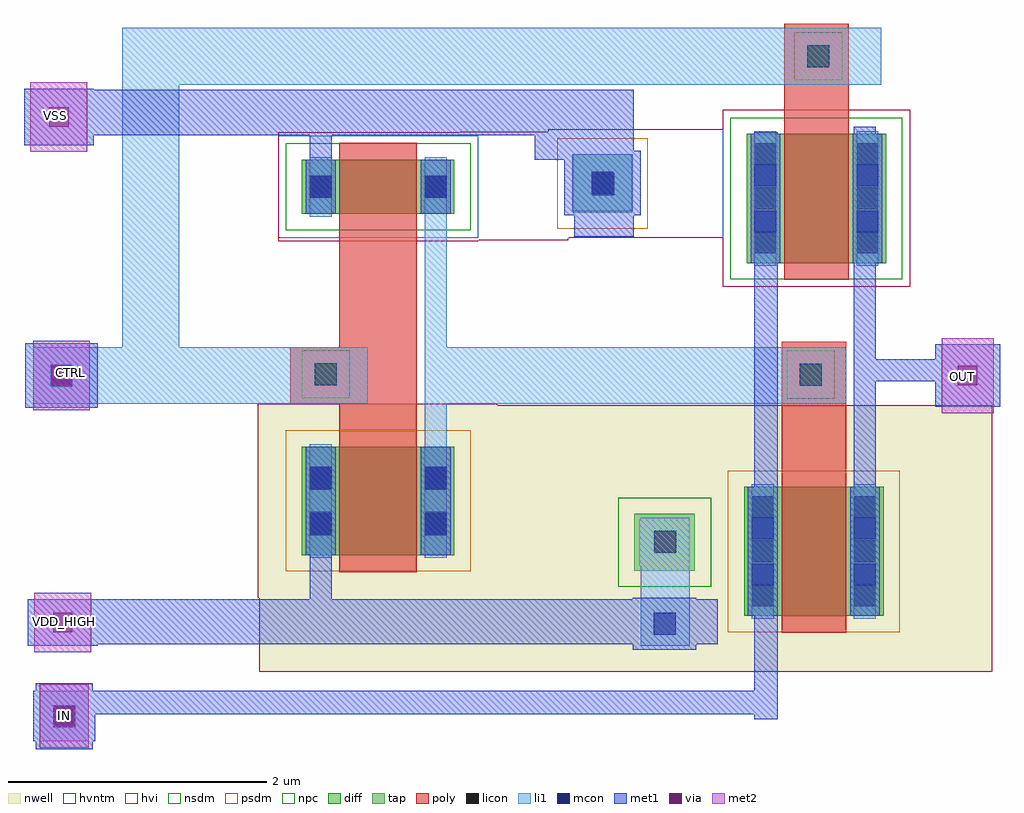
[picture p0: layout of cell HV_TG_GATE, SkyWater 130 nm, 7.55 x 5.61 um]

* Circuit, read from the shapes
.subckt HV_TG_GATE CTRL IN OUT VDD_HIGH VSS
XM1 inverter_D1_g5v10_1/OUT CTRL VSS VSS sky130_fd_pr__nfet_g5v0d10v5 w=0.42 l=0.6
XM2 OUT CTRL IN VSS sky130_fd_pr__nfet_g5v0d10v5 w=1 l=0.5
XM3 inverter_D1_g5v10_1/OUT CTRL VDD_HIGH VDD_HIGH sky130_fd_pr__pfet_g5v0d10v5 w=0.84 l=0.6
XM4 OUT inverter_D1_g5v10_1/OUT IN VDD_HIGH sky130_fd_pr__pfet_g5v0d10v5 w=1 l=0.5
.ends

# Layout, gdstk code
import gdstk
lib = gdstk.Library(unit=1e-6, precision=1e-09)
def R(c, l, rs):  # rectangles x0, y0, x1, y1
    for r in rs: c.add(gdstk.rectangle(r[:2], r[2:], *l))
def A(c, l, x, y, w, h, nx, ny, dx, dy):  # array of equal rectangles
    R(c, l, [(x+i*dx, y+j*dy, x+i*dx+w, y+j*dy+h) for i in range(nx) for j in range(ny)])
nwell = (64, 20)
diff = (65, 20)
tap = (65, 44)
poly = (66, 20)
licon = (66, 44)
li1 = (67, 20)
mcon = (67, 44)
met1 = (68, 20)
via = (68, 44)
met2 = (69, 20)
hvi = (75, 20)
nsdm = (93, 44)
psdm = (94, 20)
npc = (95, 20)
hvntm = (125, 20)

sky130_fd_pr__pfet_g5v0d = lib.new_cell('sky130_fd_pr__pfet_g5v0d10v5_HKHHPX')
R(sky130_fd_pr__pfet_g5v0d, nwell, [(-0.72,-0.81,0.72,0.81)])
R(sky130_fd_pr__pfet_g5v0d, diff, [(-0.54,-0.5,0.54,0.5)])
R(sky130_fd_pr__pfet_g5v0d, poly, [(-0.25,-0.63,0.25,0.63)])
A(sky130_fd_pr__pfet_g5v0d, licon, -0.48, -0.425, 0.17, 0.17, 1, 3, 0, 0.34)
A(sky130_fd_pr__pfet_g5v0d, licon, 0.31, -0.425, 0.17, 0.17, 1, 3, 0, 0.34)
R(sky130_fd_pr__pfet_g5v0d, li1, [(-0.48,-0.52,-0.31,0.52), (0.31,-0.52,0.48,0.52)])
R(sky130_fd_pr__pfet_g5v0d, mcon, [(-0.48,-0.265,-0.31,-0.095), (0.31,-0.265,0.48,-0.095), (-0.48,0.095,-0.31,0.265), (0.31,0.095,0.48,0.265)])
R(sky130_fd_pr__pfet_g5v0d, met1, [(-0.51,-0.5,-0.28,0.5), (0.28,-0.5,0.51,0.5)])
R(sky130_fd_pr__pfet_g5v0d, hvi, [(-0.72,-0.81,0.72,-0.685), (-0.725,-0.685,0.725,0.685), (-0.72,0.685,0.72,0.81)])
R(sky130_fd_pr__pfet_g5v0d, psdm, [(-0.665,-0.625,0.665,0.625)])

c_sky130_fd_pr__pfet_g5v0d = lib.new_cell('sky130_fd_pr__pfet_g5v0d10v5_54DD5S')
R(c_sky130_fd_pr__pfet_g5v0d, nwell, [(-0.77,-0.73,0.77,0.73)])
R(c_sky130_fd_pr__pfet_g5v0d, diff, [(-0.59,-0.42,0.59,0.42)])
R(c_sky130_fd_pr__pfet_g5v0d, poly, [(-0.3,-0.55,0.3,0.55)])
R(c_sky130_fd_pr__pfet_g5v0d, licon, [(-0.53,-0.255,-0.36,-0.085), (0.36,-0.255,0.53,-0.085), (-0.53,0.085,-0.36,0.255), (0.36,0.085,0.53,0.255)])
R(c_sky130_fd_pr__pfet_g5v0d, li1, [(-0.53,-0.44,-0.36,0.44), (0.36,-0.44,0.53,0.44)])
R(c_sky130_fd_pr__pfet_g5v0d, mcon, [(-0.53,-0.265,-0.36,-0.095), (0.36,-0.265,0.53,-0.095), (-0.53,0.095,-0.36,0.265), (0.36,0.095,0.53,0.265)])
R(c_sky130_fd_pr__pfet_g5v0d, met1, [(-0.56,-0.42,-0.33,0.42), (0.33,-0.42,0.56,0.42)])
R(c_sky130_fd_pr__pfet_g5v0d, hvi, [(-0.77,-0.73,0.77,-0.605), (-0.775,-0.605,0.775,0.605), (-0.77,0.605,0.77,0.73)])
R(c_sky130_fd_pr__pfet_g5v0d, psdm, [(-0.715,-0.545,0.715,0.545)])

sky130_fd_pr__nfet_g5v0d = lib.new_cell('sky130_fd_pr__nfet_g5v0d10v5_RU632G')
R(sky130_fd_pr__nfet_g5v0d, diff, [(-0.59,-0.21,0.59,0.21)])
R(sky130_fd_pr__nfet_g5v0d, poly, [(-0.3,-0.34,0.3,0.34)])
R(sky130_fd_pr__nfet_g5v0d, licon, [(-0.53,-0.085,-0.36,0.085), (0.36,-0.085,0.53,0.085)])
R(sky130_fd_pr__nfet_g5v0d, li1, [(-0.53,-0.23,-0.36,0.23), (0.36,-0.23,0.53,0.23)])
R(sky130_fd_pr__nfet_g5v0d, mcon, [(-0.53,-0.085,-0.36,0.085), (0.36,-0.085,0.53,0.085)])
R(sky130_fd_pr__nfet_g5v0d, met1, [(-0.56,-0.21,-0.33,0.21), (0.33,-0.21,0.56,0.21)])
R(sky130_fd_pr__nfet_g5v0d, hvi, [(-0.775,-0.42,0.775,0.42)])
R(sky130_fd_pr__nfet_g5v0d, nsdm, [(-0.715,-0.335,0.715,0.335)])
R(sky130_fd_pr__nfet_g5v0d, hvntm, [(-0.775,-0.395,0.775,0.395)])

inverter_d1_g5v10 = lib.new_cell('inverter_D1_g5v10')
R(inverter_d1_g5v10, nwell, [(-0.49,-3.04,1.36,-1.54)])
R(inverter_d1_g5v10, poly, [(0.14,-1.74,0.74,-1.54), (-0.24,-1.54,0.74,-1.1), (0.14,-1.1,0.74,-0.08)])
R(inverter_d1_g5v10, licon, [(-0.05,-1.395,0.12,-1.225)])
R(inverter_d1_g5v10, li1, [(0.8,-1.87,0.97,-1.54), (-0.49,-1.54,0.36,-1.1), (0.8,-1.54,1.36,-1.1), (0.8,-1.1,0.97,0.175)])
R(inverter_d1_g5v10, met1, [(-0.49,-3.4,1.35,-3.05), (-0.09,-3.05,0.08,-1.87), (-0.09,-0.07,0.08,0.54), (-0.5,0.54,1.34,0.89)])
R(inverter_d1_g5v10, hvi, [(-0.49,-3.04,1.36,-3.02), (-0.49,-3.02,-0.33,-2.895), (1.21,-3.02,1.36,-2.895), (-0.49,-2.895,-0.335,-1.685), (1.215,-2.895,1.36,-1.685), (-0.49,-1.685,-0.33,-1.56), (1.21,-1.685,1.36,-1.56), (-0.49,-1.56,1.36,-1.54)])
R(inverter_d1_g5v10, npc, [(-0.15,-1.495,0.22,-1.125)])
inverter_d1_g5v10.add(gdstk.Reference(c_sky130_fd_pr__pfet_g5v0d, (0.44,-2.29)))
inverter_d1_g5v10.add(gdstk.Reference(sky130_fd_pr__nfet_g5v0d, (0.44,0.14)))
inverter_d1_g5v10.add(gdstk.Label('VDD', (0.46,-3.25), layer=68, texttype=16))
inverter_d1_g5v10.add(gdstk.Label('GND', (0.46,0.69), layer=68, texttype=16))
inverter_d1_g5v10.add(gdstk.Label('IN', (-0.32,-1.33), layer=67, texttype=16))
inverter_d1_g5v10.add(gdstk.Label('OUT', (1.12,-1.35), layer=67, texttype=16))

c_sky130_fd_pr__nfet_g5v0d = lib.new_cell('sky130_fd_pr__nfet_g5v0d10v5_PDTLGW')
R(c_sky130_fd_pr__nfet_g5v0d, diff, [(-0.54,-0.5,0.54,0.5)])
R(c_sky130_fd_pr__nfet_g5v0d, poly, [(-0.25,-0.63,0.25,0.63)])
A(c_sky130_fd_pr__nfet_g5v0d, licon, -0.48, -0.425, 0.17, 0.17, 1, 3, 0, 0.34)
A(c_sky130_fd_pr__nfet_g5v0d, licon, 0.31, -0.425, 0.17, 0.17, 1, 3, 0, 0.34)
R(c_sky130_fd_pr__nfet_g5v0d, li1, [(-0.48,-0.52,-0.31,0.52), (0.31,-0.52,0.48,0.52)])
R(c_sky130_fd_pr__nfet_g5v0d, mcon, [(-0.48,-0.265,-0.31,-0.095), (0.31,-0.265,0.48,-0.095), (-0.48,0.095,-0.31,0.265), (0.31,0.095,0.48,0.265)])
R(c_sky130_fd_pr__nfet_g5v0d, met1, [(-0.51,-0.5,-0.28,0.5), (0.28,-0.5,0.51,0.5)])
R(c_sky130_fd_pr__nfet_g5v0d, hvi, [(-0.725,-0.685,0.725,0.685)])
R(c_sky130_fd_pr__nfet_g5v0d, nsdm, [(-0.665,-0.625,0.665,0.625)])
R(c_sky130_fd_pr__nfet_g5v0d, hvntm, [(-0.725,-0.685,0.725,0.685)])

hv_tg_gate = lib.new_cell('HV_TG_GATE')
R(hv_tg_gate, nwell, [(-3.57,-1.74,2.1,0.32)])
R(hv_tg_gate, tap, [(-0.67,-0.96,-0.2,-0.52), (-1.14,1.81,-0.69,2.26)])
R(hv_tg_gate, poly, [(0.47,-0.24,0.97,0.81), (0.49,2.52,0.99,3.27)])
R(hv_tg_gate, licon, [(-0.515,-0.82,-0.345,-0.65), (0.61,0.47,0.78,0.64), (-0.995,1.945,-0.825,2.115), (0.67,2.935,0.84,3.105)])
R(hv_tg_gate, li1, [(-5.27,-2.28,-4.89,-1.89), (-0.62,-1.54,-0.24,-0.92), (-0.63,-0.92,-0.24,-0.56), (-0.62,-0.56,-0.24,-0.55), (-5.32,0.33,-3.14,0.77), (-2.17,0.33,0.97,0.77), (-4.63,0.77,-4.19,2.8), (-1.15,1.82,-0.68,2.26), (-4.63,2.8,1.24,3.24)])
R(hv_tg_gate, mcon, [(-5.165,-2.17,-4.995,-2), (-0.52,-1.455,-0.35,-1.285), (-5.185,0.465,-5.015,0.635), (-1,1.955,-0.83,2.125)])
R(hv_tg_gate, met1, [(-5.3,-2.34,-4.86,-2.28), (-5.32,-2.28,-4.84,-2.07), (0.26,-2.11,0.44,-2.07), (-5.32,-2.07,0.44,-1.89), (-5.3,-1.89,-4.86,-1.83), (0.26,-1.89,0.44,2.43), (-0.68,-1.57,-0.19,-1.53), (-5.36,-1.54,-4.82,-1.53), (-5.36,-1.53,-0.025,-1.18), (-0.68,-1.18,-0.19,-1.17), (1.03,-0.64,1.2,0.505), (-5.38,0.3,-4.82,0.8), (1.66,0.31,2.16,0.505), (1.03,0.505,2.16,0.675), (1.03,0.675,1.2,2.475), (1.66,0.675,2.16,0.79), (-1.135,1.625,-0.675,1.79), (-1.21,1.79,-0.62,2.22), (-1.44,2.22,-0.62,2.29), (-1.44,2.29,-0.675,2.41), (-5.39,2.33,-4.85,2.41), (-5.39,2.41,-3.205,2.76), (-2.1,2.41,-0.675,2.76), (-5.39,2.76,-4.85,2.77)])
R(hv_tg_gate, via, [(-5.155,-2.16,-5.005,-2.01), (-5.165,-1.435,-5.015,-1.285), (-5.175,0.475,-5.025,0.625), (1.835,0.475,1.985,0.625), (-5.195,2.475,-5.045,2.625)])
R(hv_tg_gate, met2, [(-5.27,-2.33,-4.89,-1.84), (-5.31,-1.59,-4.87,-1.13), (1.71,0.26,2.11,0.84), (-5.32,0.28,-4.88,0.82), (-5.34,2.28,-4.9,2.82)])
R(hv_tg_gate, hvi, [(-3.57,-1.74,2.1,0.32), (-1.875,1.595,-1.18,1.615), (-1.875,1.615,0.015,1.625), (-1.875,1.625,0.015,2.43), (-2.02,2.43,0.015,2.435), (-1.335,2.435,0.015,2.445), (-1.335,2.445,0.015,2.455)])
R(hv_tg_gate, nsdm, [(-0.795,-1.085,-0.075,-0.395)])
R(hv_tg_gate, psdm, [(-1.265,1.685,-0.565,2.385)])
R(hv_tg_gate, npc, [(0.51,0.37,0.88,0.74), (0.57,2.835,0.94,3.205)])
hv_tg_gate.add(gdstk.Reference(sky130_fd_pr__pfet_g5v0d, (0.72,-0.81)))
hv_tg_gate.add(gdstk.Reference(inverter_d1_g5v10, (-3.09,1.87)))
hv_tg_gate.add(gdstk.Reference(c_sky130_fd_pr__nfet_g5v0d, (0.74,1.92)))
hv_tg_gate.add(gdstk.Label('IN', (-5.08,-2.08), layer=69, texttype=16))
hv_tg_gate.add(gdstk.Label('VDD_HIGH', (-5.08,-1.35), layer=69, texttype=16))
hv_tg_gate.add(gdstk.Label('CTRL', (-5.03,0.57), layer=69, texttype=16))
hv_tg_gate.add(gdstk.Label('VSS', (-5.15,2.56), layer=69, texttype=16))
hv_tg_gate.add(gdstk.Label('OUT', (1.87,0.54), layer=69, texttype=16))

lib.write_gds('HV_TG_GATE.gds')
